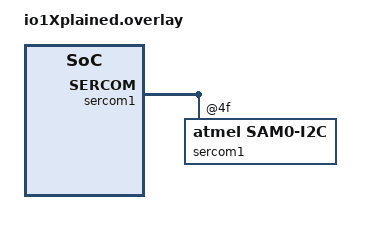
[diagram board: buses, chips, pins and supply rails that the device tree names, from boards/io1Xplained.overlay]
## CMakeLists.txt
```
cmake_minimum_required(VERSION 3.20.0)

find_package(Zephyr REQUIRED HINTS $ENV{ZEPHYR_BASE})
project(projeto_final)

target_sources(app PRIVATE src/main.c)
```

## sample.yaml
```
sample:
  name: Projeto final
tests:
  projeto_final.sample:
    tags:
      - LED
      - gpio
    filter: dt_enabled_alias_with_parent_compat("led0", "gpio-leds")
    depends_on: gpio
    harness: led
    integration_platforms:
      - frdm_k64f
```

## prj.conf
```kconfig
CONFIG_GPIO=y
CONFIG_PRINTK=y
CONFIG_I2C=y
```

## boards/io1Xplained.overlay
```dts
/*
 * Copyright (c) 2024 UFSM
 *
 * SPDX-License-Identifier: Apache-2.0
 */

&sercom1 {
	sercom1@4f {
		compatible = "atmel,sam0-i2c";
		reg = <0x4f>;
	};
};
```

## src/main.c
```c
/*
 * Copyright (c) 2024 UFSM
 *
 * SPDX-License-Identifier: Apache-2.0
 */

#include <zephyr/kernel.h>
#include <zephyr/device.h>
#include <zephyr/drivers/i2c.h>
#include <zephyr/net/openthread.h>
#include <openthread/thread.h>
#include <openthread/udp.h>
#include <stdio.h>
#include <string.h>

#define AT30TSE75X_ADDR 0x4F
#define AT30TSE75X_REG_REA 0x00
#define I2C_DEV_NAME DT_NODELABEL(sercom1)

#define SLEEP_TIME K_MSEC(1000)

#define COAP_PORT 5683
#define REMOTE_IP "ff03::1" // Multicast address

static otInstance *ot_instance;
static otUdpSocket udp_socket;

// Função para enviar dados pela rede Thread
void send_temperature(int8_t temperature) {
    char message[32];
    otMessageInfo message_info;
    otMessage *udp_message;

    // Formata a string para envio
    snprintf(message, sizeof(message), "Temperatura: %d C", temperature);

    // Prepara as informações do destinatário
    memset(&message_info, 0, sizeof(message_info));
    otIp6AddressFromString(REMOTE_IP, &message_info.mPeerAddr);
    message_info.mPeerPort = COAP_PORT;

    // Cria uma nova mensagem UDP
    udp_message = otUdpNewMessage(ot_instance, NULL);
    if (udp_message == NULL) {
        printf("Falha ao criar mensagem UDP.\n");
        return;
    }

    // Adiciona o payload
    otMessageAppend(udp_message, message, strlen(message));

    // Envia a mensagem UDP
    otError error = otUdpSend(&udp_socket, udp_message, &message_info);
    if (error != OT_ERROR_NONE) {
        printf("Falha ao enviar mensagem UDP: %d\n", error);
        otMessageFree(udp_message);
    } else {
        printf("Mensagem enviada: %s\n", message);
    }
}

int main(void) {
    const struct device *i2c_dev = DEVICE_DT_GET(I2C_DEV_NAME);

    if (i2c_dev == NULL || !device_is_ready(i2c_dev)) {
        printf("Não foi possível iniciar o dispositivo I2C!\n");
        return 0;
    }

    printf("Sensor pronto! Início da leitura:\n");

    // Inicializa a instância do OpenThread
    ot_instance = openthread_get_default_instance();
    if (ot_instance == NULL) {
        printf("Falha ao obter instância do OpenThread.\n");
        return 0;
    }

    // Configura o socket UDP
    memset(&udp_socket, 0, sizeof(udp_socket));
    otUdpOpen(ot_instance, &udp_socket, NULL, NULL);

    // Ativa o Thread
    otThreadSetEnabled(ot_instance, true);

    for (;;) {
        uint8_t temperature;
        int ret = i2c_reg_read_byte(i2c_dev, AT30TSE75X_ADDR, AT30TSE75X_REG_REA, &temperature);

        if (ret != 0) {
            printf("Erro leitura I2C: %d\n", ret);
            k_sleep(SLEEP_TIME);
            continue;
        }

        // Corrige a leitura de temperatura para valores válidos
        if (temperature > 127 || temperature < -128) {
            printf("Leitura inválida: %d\n", temperature);
        } else {
            printf("Temperatura: %d C\n", temperature);

            // Envia a temperatura via Thread
            send_temperature(temperature);
        }

        k_sleep(SLEEP_TIME);
    }

    return 0;
}
```
